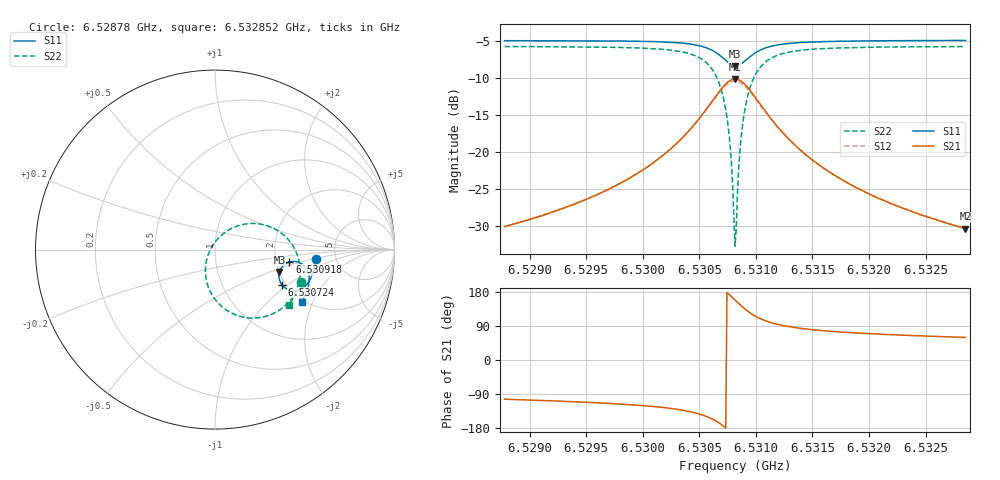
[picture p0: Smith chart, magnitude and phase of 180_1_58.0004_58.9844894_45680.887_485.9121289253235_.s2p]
#  HZ  S  RI  R  50.00
! Rohde & Schwarz Vector Network Analyzer
! Rohde-Schwarz,ZNB20-2Port,1311601062101988,3.16
! Created: UTC 3/21/2024, 12:58:17 AM
! freq[Hz]  re:S11  im:S11  re:S21  im:S21  re:S12  im:S12  re:S22  im:S22
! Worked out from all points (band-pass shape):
!   401 points, 6.52878 GHz to 6.532852 GHz, reference 50 ohm
!   highest |S21| = -10.16 dB at 6.530816 GHz (marker M1); lowest = -30.3 dB at 6.532852 GHz (marker M2)
!   |S21| within 3 dB of the highest: 6.530613 GHz to 6.53102 GHz (407.3 kHz wide, 0.00624 % of centre)
!   lowest |S11| = -8.4 dB at 6.530816 GHz (marker M3), VSWR 2.23, Z = 100 - j29.3 ohm
!   |S11| at or under -10 dB: nowhere
!   |S22| runs from -32.7 to -5.8 dB; largest |S21 - S12| = 0.013
!   S11 on the Smith chart (normalised r, x): 6.52878 GHz: 3.49, -0.52; 6.530724 GHz: 1.91, -0.90; 6.530918 GHz: 2.37, -0.40; 6.532852 GHz: 1.93, -1.66
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6.5287797e9  0.5604 -0.0507  -0.00727 -0.0308  -0.008 -0.0304  0.4814 -0.1802
6.5294618e9  0.5512 -0.1079  -0.0168 -0.0436  -0.0178 -0.0432  0.4493 -0.2433
6.5301439e9  0.524 -0.1769  -0.0509 -0.0749  -0.053 -0.0735  0.366 -0.3323
6.5303781e9  0.4975 -0.2074  -0.0908 -0.0948  -0.0939 -0.0916  0.2842 -0.3714
6.5305512e9  0.4537 -0.2274  -0.1599 -0.1015  -0.1624 -0.0947  0.1566 -0.3761
6.530653e9  0.4082 -0.2226  -0.2304 -0.0747  -0.2296 -0.0649  0.0386 -0.3181
6.5307242e9  0.3725 -0.1953  -0.2822 -0.0157  -0.2764 -0.00525  -0.0375 -0.2084
6.530765e9  0.3589 -0.1672  -0.2985 0.0379  -0.2892 0.0463  -0.0536 -0.1165
6.5307752e9  0.3574 -0.1591  -0.2995 0.053  -0.2895 0.0606  -0.0522 -0.0916
6.5308057e9  0.3574 -0.1335  -0.2938 0.099  -0.2825 0.1038  -0.0337 -0.0172
6.5308159e9  0.3592 -0.1249  -0.2887 0.1141  -0.2774 0.1179  -0.0224 0.00627
6.5308261e9  0.3621 -0.1166  -0.2821 0.1285  -0.2708 0.1312  -0.00903 0.0286
6.5308362e9  0.3657 -0.1088  -0.2744 0.1424  -0.2632 0.144  0.00637 0.0493
6.5308566e9  0.3754 -0.0946  -0.2551 0.1666  -0.2447 0.1666  0.0425 0.0855
6.530877e9  0.3872 -0.083  -0.2326 0.186  -0.223 0.1846  0.0834 0.1132
6.5309177e9  0.4142 -0.0691  -0.1831 0.2096  -0.1762 0.2066  0.1691 0.1425
6.530989e9  0.4579 -0.0682  -0.1068 0.212  -0.1032 0.2088  0.2971 0.1308
6.5310908e9  0.4962 -0.0899  -0.0412 0.1807  -0.0395 0.1789  0.4028 0.0619
6.5312435e9  0.5187 -0.126  -0.00161 0.1336  -0.000207 0.133  0.4604 -0.0347
6.531498e9  0.5246 -0.1695  0.0154 0.0873  0.0166 0.0871  0.4743 -0.1332
6.5321801e9  0.5077 -0.2409  0.0178 0.042  0.0186 0.0417  0.4448 -0.2495
6.5328521e9  0.483 -0.2923  0.0155 0.0263  0.0159 0.0261  0.41 -0.3094
